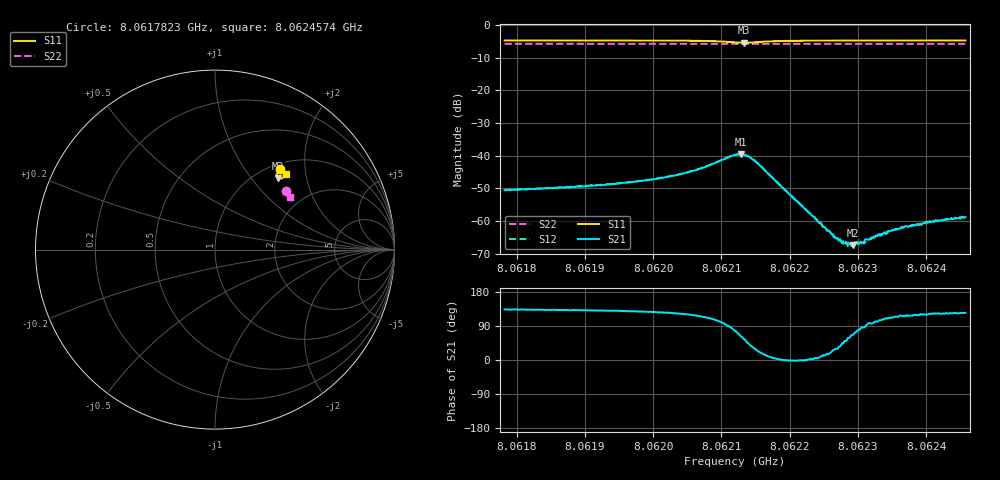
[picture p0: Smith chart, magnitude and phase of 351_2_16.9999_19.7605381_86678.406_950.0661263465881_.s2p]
#  HZ  S  RI  R  50.00
! Rohde & Schwarz Vector Network Analyzer
! Rohde-Schwarz,ZNB20-2Port,1311601062101988,3.16
! Created: UTC 3/20/2024, 11:07:50 PM
! freq[Hz]  re:S11  im:S11  re:S21  im:S21  re:S12  im:S12  re:S22  im:S22
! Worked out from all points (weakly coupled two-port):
!   401 points, 8.0617823 GHz to 8.0624574 GHz, reference 50 ohm
!   highest |S21| = -39.54 dB at 8.0621283 GHz (marker M1); lowest = -67.3 dB at 8.062292 GHz (marker M2)
!   lowest |S11| = -5.5 dB at 8.0621334 GHz (marker M3), VSWR 3.27, Z = 61.7 + j68.7 ohm
!   |S11| at or under -10 dB: nowhere
!   |S22| runs from -5.9 to -5.8 dB; largest |S21 - S12| = 0.00078
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8.06178228e9  0.3632 0.4471  -0.00203 0.00214  -0.00192 0.00229  0.396 0.3247
8.06189537e9  0.3707 0.4406  -0.00222 0.00254  -0.00211 0.00274  0.4003 0.3191
8.06194938e9  0.3747 0.4367  -0.0024 0.00289  -0.00227 0.00307  0.4023 0.3163
8.06200846e9  0.3795 0.4308  -0.00264 0.00367  -0.00242 0.0038  0.4045 0.3133
8.06206416e9  0.3842 0.4203  -0.00275 0.00541  -0.00245 0.00562  0.4067 0.3101
8.06211986e9  0.3669 0.3948  0.00236 0.00992  0.00291 0.00994  0.4074 0.3065
8.0621283e9  0.3565 0.3959  0.00485 0.00936  0.00521 0.00916  0.4071 0.3065
8.06213336e9  0.3504 0.3994  0.00596 0.00846  0.00639 0.00813  0.4071 0.3063
8.06215193e9  0.3441 0.4204  0.00701 0.00338  0.00718 0.00299  0.4078 0.3065
8.06223295e9  0.3727 0.4345  0.00119 4.63e-05  0.00121 -2.44e-05  0.412 0.3029
8.06226671e9  0.3777 0.4325  0.000499 0.000273  0.000498 0.000225  0.4133 0.301
8.06227852e9  0.3793 0.4318  0.000326 0.000311  0.000364 0.000332  0.4138 0.3005
8.06228696e9  0.3801 0.4312  0.000244 0.000391  0.000254 0.000401  0.4139 0.3001
8.06229202e9  0.3806 0.4309  0.000175 0.000394  0.000202 0.000406  0.4142 0.2997
8.06229877e9  0.3813 0.4305  0.000101 0.000448  0.000186 0.000443  0.4144 0.2995
8.06230721e9  0.3822 0.4298  3.03e-05 0.000463  5.95e-05 0.000459  0.4149 0.2991
8.0623224e9  0.3836 0.429  -7.51e-05 0.000557  -3.4e-05 0.000555  0.4153 0.2983
8.06234604e9  0.3857 0.4274  -0.000245 0.000657  -0.000165 0.00066  0.4161 0.297
8.06236798e9  0.3873 0.4263  -0.000349 0.00073  -0.000313 0.000748  0.417 0.2959
8.06239836e9  0.3895 0.4243  -0.000465 0.000798  -0.000418 0.000822  0.4179 0.2944
8.06244562e9  0.3927 0.4218  -0.00061 0.000925  -0.000556 0.000988  0.4196 0.2918
8.06245744e9  0.3933 0.4212  -0.00065 0.000949  -0.000579 0.000969  0.4201 0.2912
